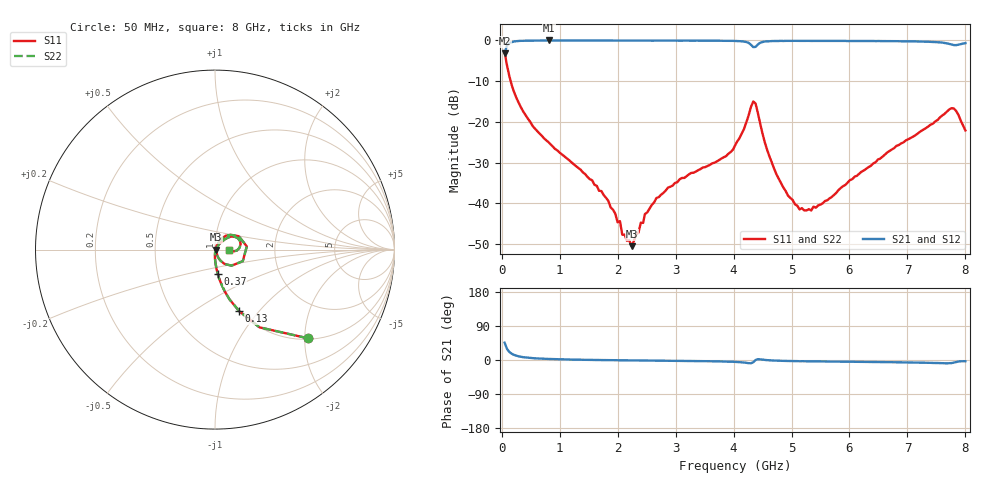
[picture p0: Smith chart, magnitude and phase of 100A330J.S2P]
!  American Technical Ceramics  Date:  3/13/98
!  One Norden Lane
!  Huntington Station,  NY.  11746-2102
!  Tel:  (516) 547-5700  Fax:  (516) 547-5748
!  Part Number  100A330J
!  Description: Porcelain, High Q, Low ESR
!  Application: Bypass, Coupling, Timing, Feedback
!  Tuning, Impedance Match, Blocking
# GHZ S DB R 50
! Freq  |S11|  S11 Ph  |S21|  S21 Ph  |S12|  S12 Ph  |S22|  S22 Ph
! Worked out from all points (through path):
!   201 points, 50 MHz to 8 GHz, reference 50 ohm
!   highest |S21| = 0.01 dB at 810 MHz (marker M1); lowest = -3.1 dB at 50 MHz (marker M2)
!   group delay of S21, straight-line fit = 4.9 ps
!   lowest |S11| = -50.6 dB at 2.24 GHz (marker M3), VSWR 1.01, Z = 50.3 - j0.0335 ohm
!   |S11| at or under -10 dB: 154.8 MHz to end of sweep
!   |S22| runs from -50.6 to -2.9 dB; largest |S21 - S12| = 0
!   S11 on the Smith chart (normalised r, x): 50 MHz: 1.02, -2.07; 130 MHz: 1.00, -0.79; 370 MHz: 0.99, -0.27; 8 GHz: 1.17, -0.00
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0.05  -2.92 -43.7  -3.11 45.7  -3.11 45.7  -2.92 -43.7
0.09  -6.04 -60.2  -1.22 29.7  -1.22 29.7  -6.04 -60.2
0.13  -8.66 -68.5  -0.70 21.5  -0.70 21.5  -8.66 -68.5
0.37  -17.42 -83.6  -0.08 7.4  -0.08 7.4  -17.42 -83.6
0.81  -25.03 -89.5  0.01 2.7  0.01 2.7  -25.03 -89.5
1.4  -32.40 -90.3  0.00 0.7  0.00 0.7  -32.40 -90.3
1.84  -39.44 -84.1  -0.01 -0.3  -0.01 -0.3  -39.44 -84.1
2.04  -44.41 -66.0  0.00 -0.7  0.00 -0.7  -44.41 -66.0
2.08  -47.75 -59.8  -0.02 -0.7  -0.02 -0.7  -47.75 -59.8
2.24  -50.56 -6.4  -0.01 -1.1  -0.01 -1.1  -50.56 -6.4
2.47  -42.68 51.0  -0.02 -1.3  -0.02 -1.3  -42.68 51.0
2.71  -38.50 61.1  -0.03 -1.9  -0.03 -1.9  -38.50 61.1
4.03  -25.68 62.7  -0.11 -5.0  -0.11 -5.0  -25.68 62.7
4.34  -14.99 5.7  -1.62 -5.9  -1.62 -5.9  -14.99 5.7
4.42  -17.84 -44.3  -0.95 2.2  -0.95 2.2  -17.84 -44.3
4.62  -28.53 -68.5  -0.19 -0.6  -0.19 -0.6  -28.53 -68.5
4.94  -38.14 -49.7  -0.10 -2.5  -0.10 -2.5  -38.14 -49.7
5.14  -41.53 -23.9  -0.10 -3.4  -0.10 -3.4  -41.53 -23.9
5.38  -40.84 8.0  -0.10 -3.6  -0.10 -3.6  -40.84 8.0
6.69  -27.16 51.9  -0.16 -5.8  -0.16 -5.8  -27.16 51.9
7.76  -16.64 19.6  -0.98 -8.2  -0.98 -8.2  -16.64 19.6
8  -22.10 -0.8  -0.65 -3.2  -0.65 -3.2  -22.10 -0.8
